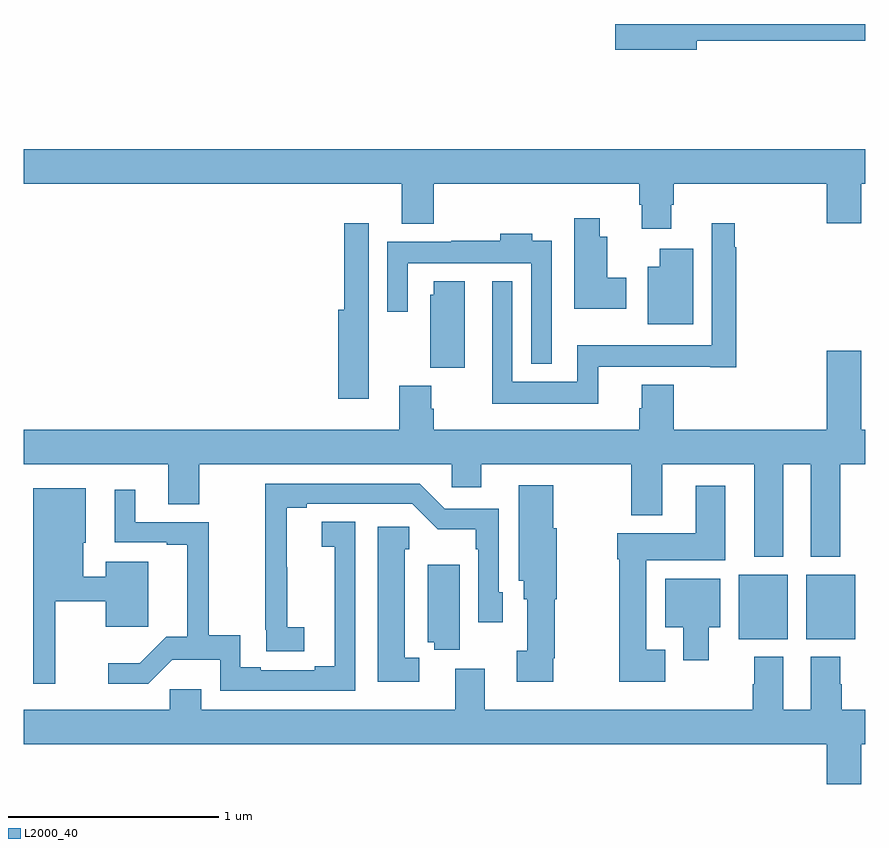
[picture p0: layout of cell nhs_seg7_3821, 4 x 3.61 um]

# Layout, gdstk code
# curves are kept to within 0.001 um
import gdstk
lib = gdstk.Library(unit=1e-6, precision=1e-09)
def R(c, l, rs):  # rectangles x0, y0, x1, y1
    for r in rs: c.add(gdstk.rectangle(r[:2], r[2:], *l))
def P(c, l, *ps):  # polygons
    for p in ps: c.add(gdstk.Polygon(p, *l))
L2000_40 = (2000, 40)

nhs_seg7_3821 = lib.new_cell('nhs_seg7_3821')
R(nhs_seg7_3821, L2000_40, [(356.399,1041.077,356.632,1041.382), (356.72,1041.077,356.953,1041.382)])
P(nhs_seg7_3821, L2000_40, [(356.2,1043.92),(357,1043.92),(357,1044),(355.812,1044),(355.812,1043.878),(356.2,1043.878)],
  [(356.077,1043.142),(356.09,1043.142),(356.09,1043.24),(356.816,1043.24),(356.816,1043.052),(356.98,1043.052),(356.98,1043.24),(357,1043.24),(357,1043.404),(353,1043.404),(353,1043.24),(354.797,1043.24),(354.797,1043.051),(354.95,1043.051),(354.95,1043.24),(355.925,1043.24),(355.925,1043.142),(355.937,1043.142),(355.937,1043.028),(356.077,1043.028)],
  [(355.864,1042.794),(355.774,1042.794),(355.774,1042.99),(355.738,1042.99),(355.738,1043.077),(355.616,1043.077),(355.616,1042.646),(355.864,1042.646)],
  [(355.73,1042.37),(356.264,1042.37),(356.264,1042.368),(356.387,1042.368),(356.387,1042.94),(356.38,1042.94),(356.38,1043.053),(356.271,1043.053),(356.271,1042.474),(355.632,1042.474),(355.632,1042.3),(355.323,1042.3),(355.323,1042.777),(355.226,1042.777),(355.226,1042.196),(355.73,1042.196)],
  [(354.64,1042.538),(354.639,1042.538),(354.639,1043.053),(354.523,1043.053),(354.523,1042.642),(354.494,1042.642),(354.494,1042.218),(354.64,1042.218)],
  [(355.509,1042.969),(355.417,1042.969),(355.417,1043.002),(355.265,1043.002),(355.265,1042.969),(355.033,1042.969),(355.033,1042.966),(354.729,1042.966),(354.729,1042.632),(354.825,1042.632),(354.825,1042.862),(355.413,1042.862),(355.413,1042.385),(355.509,1042.385)],
  [(356.182,1042.933),(356.024,1042.933),(356.024,1042.846),(355.967,1042.846),(355.967,1042.574),(356.182,1042.574)],
  [(355.096,1042.777),(354.95,1042.777),(354.95,1042.713),(354.932,1042.713),(354.932,1042.366),(355.096,1042.366)],
  [(356.611,1041.908),(356.741,1041.908),(356.741,1041.467),(356.881,1041.467),(356.881,1041.908),(357,1041.908),(357,1042.072),(356.98,1042.072),(356.98,1042.447),(356.816,1042.447),(356.816,1042.072),(356.09,1042.072),(356.09,1042.285),(355.937,1042.285),(355.937,1042.173),(355.925,1042.173),(355.925,1042.072),(354.95,1042.072),(354.95,1042.172),(354.937,1042.172),(354.937,1042.281),(354.785,1042.281),(354.785,1042.072),(353,1042.072),(353,1041.908),(353.687,1041.908),(353.687,1041.718),(353.835,1041.718),(353.835,1041.908),(355.035,1041.908),(355.035,1041.798),(355.174,1041.798),(355.174,1041.908),(355.888,1041.908),(355.888,1041.665),(356.035,1041.665),(356.035,1041.908),(356.471,1041.908),(356.471,1041.467),(356.611,1041.467)],
  [(354.334,1041.134),(354.252,1041.134),(354.25,1041.7),(354.346,1041.7),(354.346,1041.72),(354.846,1041.72),(354.967,1041.599),(355.149,1041.599),(355.149,1041.503),(355.161,1041.503),(355.161,1041.156),(355.278,1041.156),(355.278,1041.3),(355.257,1041.3),(355.257,1041.696),(355.002,1041.696),(354.882,1041.816),(354.148,1041.816),(354.148,1041.121),(354.154,1041.121),(354.154,1041.019),(354.334,1041.019)],
  [(355.516,1040.986),(355.524,1040.986),(355.524,1041.267),(355.534,1041.267),(355.534,1041.603),(355.516,1041.603),(355.516,1041.808),(355.352,1041.808),(355.352,1041.354),(355.376,1041.354),(355.376,1041.267),(355.394,1041.267),(355.394,1041.022),(355.344,1041.022),(355.344,1040.874),(355.516,1040.874)],
  [(356.05,1041.025),(355.96,1041.025),(355.96,1041.452),(356.335,1041.452),(356.335,1041.805),(356.195,1041.805),(356.195,1041.58),(355.82,1041.58),(355.82,1041.456),(355.831,1041.456),(355.831,1040.873),(356.05,1040.873)],
  [(353.149,1041.256),(353.39,1041.256),(353.39,1041.135),(353.593,1041.135),(353.593,1041.445),(353.39,1041.445),(353.39,1041.373),(353.284,1041.373),(353.284,1041.534),(353.296,1041.534),(353.296,1041.793),(353.045,1041.793),(353.045,1040.865),(353.149,1040.865)],
  [(354.576,1041.635),(354.417,1041.635),(354.417,1041.515),(354.478,1041.515),(354.479,1040.948),(354.383,1040.948),(354.383,1040.928),(354.127,1040.928),(354.127,1040.942),(354.03,1040.942),(354.03,1041.095),(353.879,1041.095),(353.879,1041.633),(353.53,1041.633),(353.53,1041.787),(353.432,1041.787),(353.432,1041.537),(353.681,1041.537),(353.681,1041.525),(353.777,1041.525),(353.777,1041.088),(353.677,1041.088),(353.551,1040.962),(353.403,1040.962),(353.403,1040.865),(353.592,1040.865),(353.705,1040.978),(353.934,1040.978),(353.934,1040.832),(354.576,1040.832)],
  [(354.88,1040.988),(354.811,1040.988),(354.811,1041.504),(354.833,1041.504),(354.833,1041.61),(354.683,1041.61),(354.683,1040.873),(354.88,1040.873)],
  [(355.072,1041.43),(354.92,1041.43),(354.92,1041.062),(354.952,1041.062),(354.952,1041.025),(355.072,1041.025)],
  [(356.257,1041.134),(356.311,1041.134),(356.311,1041.364),(356.048,1041.364),(356.048,1041.134),(356.135,1041.134),(356.135,1040.976),(356.257,1040.976)],
  [(356.816,1040.388),(356.98,1040.388),(356.98,1040.576),(357,1040.576),(357,1040.74),(356.889,1040.74),(356.889,1040.861),(356.881,1040.861),(356.881,1040.992),(356.741,1040.992),(356.741,1040.74),(356.611,1040.74),(356.611,1040.992),(356.471,1040.992),(356.471,1040.861),(356.464,1040.861),(356.464,1040.74),(355.192,1040.74),(355.192,1040.935),(355.052,1040.935),(355.052,1040.74),(353.845,1040.74),(353.845,1040.838),(353.694,1040.838),(353.694,1040.74),(353,1040.74),(353,1040.576),(356.816,1040.576)])

lib.write_gds('nhs_seg7_3821.gds')
